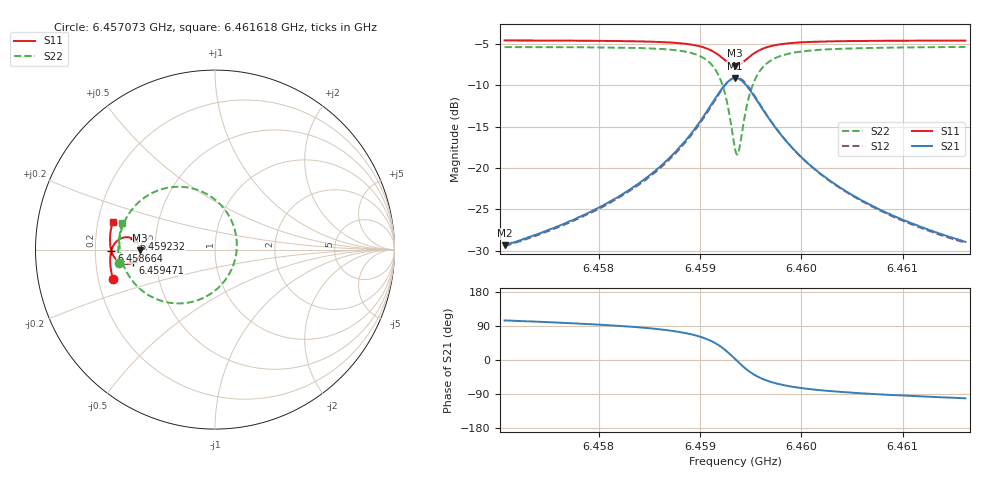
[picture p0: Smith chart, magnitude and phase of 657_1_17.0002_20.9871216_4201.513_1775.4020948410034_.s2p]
#  HZ  S  RI  R  50.00
! Rohde & Schwarz Vector Network Analyzer
! Rohde-Schwarz,ZNB20-2Port,1311601062101988,3.16
! Created: UTC 3/20/2024, 11:21:35 PM
! freq[Hz]  re:S11  im:S11  re:S21  im:S21  re:S12  im:S12  re:S22  im:S22
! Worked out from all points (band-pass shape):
!   401 points, 6.457073 GHz to 6.461618 GHz, reference 50 ohm
!   highest |S21| = -9.12 dB at 6.459346 GHz (marker M1); lowest = -29.4 dB at 6.457073 GHz (marker M2)
!   |S21| within 3 dB of the highest: 6.459123 GHz to 6.459578 GHz (455.1 kHz wide, 0.00704 % of centre)
!   lowest |S11| = -7.6 dB at 6.459346 GHz (marker M3), VSWR 2.43, Z = 20.6 - j0.158 ohm
!   |S11| at or under -10 dB: nowhere
!   |S22| runs from -18.4 to -5.3 dB; largest |S21 - S12| = 0.014
!   S11 on the Smith chart (normalised r, x): 6.457073 GHz: 0.26, -0.13; 6.458664 GHz: 0.27, -0.00; 6.459232 GHz: 0.37, +0.06; 6.459471 GHz: 0.37, -0.07; 6.461618 GHz: 0.26, +0.12
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6.4570728e9  -0.5688 -0.1645  -0.00835 0.033  -0.00687 0.0329  -0.5343 -0.0763
6.4578342e9  -0.5818 -0.0978  -0.00493 0.0512  -0.0025 0.0503  -0.5384 0.0137
6.458266e9  -0.5841 -0.0542  0.00152 0.0712  0.00465 0.0697  -0.5287 0.083
6.4585956e9  -0.5799 -0.0146  0.0154 0.0994  0.0194 0.0966  -0.5028 0.1584
6.4586638e9  -0.5776 -0.00518  0.0208 0.1079  0.0248 0.1045  -0.4926 0.1784
6.458857e9  -0.5647 0.0252  0.0475 0.1385  0.0516 0.1336  -0.4422 0.2471
6.4590047e9  -0.5421 0.0511  0.0927 0.1689  0.0959 0.162  -0.3586 0.3111
6.4591411e9  -0.4984 0.0688  0.1794 0.1856  0.1801 0.1782  -0.2002 0.3502
6.459232e9  -0.454 0.0592  0.2692 0.1558  0.2693 0.15  -0.0335 0.3023
6.4592888e9  -0.428 0.0348  0.323 0.1  0.3245 0.0951  0.069 0.2026
6.4593456e9  -0.4162 -0.00316  0.3496 0.0171  0.3531 0.0106  0.1209 0.0481
6.4593684e9  -0.4174 -0.0195  0.3483 -0.0188  0.3523 -0.0266  0.1188 -0.0199
6.4593911e9  -0.4221 -0.0348  0.3403 -0.0531  0.3442 -0.0627  0.1026 -0.0854
6.4594706e9  -0.4564 -0.0715  0.2752 -0.141  0.2747 -0.1544  -0.0292 -0.2495
6.4595161e9  -0.4798 -0.0792  0.2299 -0.1648  0.2262 -0.178  -0.1206 -0.2892
6.4595616e9  -0.5008 -0.0797  0.1884 -0.1743  0.1822 -0.1861  -0.2027 -0.3
6.4597093e9  -0.5458 -0.0594  0.0977 -0.1604  0.0891 -0.1669  -0.3761 -0.2501
6.4598684e9  -0.5679 -0.0315  0.0516 -0.1317  0.0437 -0.1345  -0.4587 -0.1762
6.460107e9  -0.5808 0.00425  0.022 -0.0991  0.016 -0.0998  -0.5074 -0.0917
6.460448e9  -0.5852 0.0453  0.00577 -0.0715  0.00174 -0.0711  -0.5289 -0.0114
6.4608684e9  -0.583 0.0877  -0.00191 -0.0528  -0.00476 -0.0519  -0.5324 0.0572
6.4616185e9  -0.5706 0.1543  -0.00687 -0.035  -0.0086 -0.034  -0.5207 0.1469
